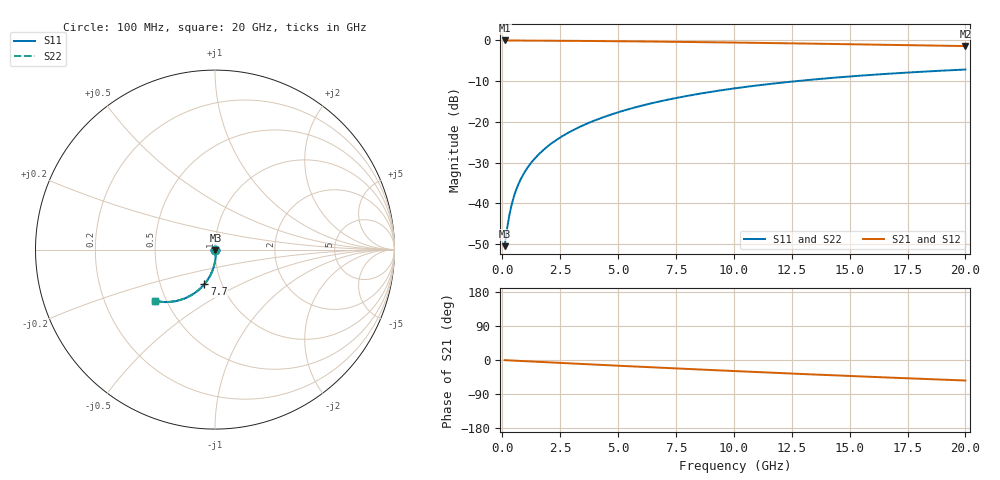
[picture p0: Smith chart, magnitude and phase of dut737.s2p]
! Touchstone file exported from HFSS 2026.1.0
!  File:  C:/ffzhzh/LocalFiles/Ansys_Project_Files/temp_train_TMRDL_737_1783155029_51560.aedt
!  Generated:  04:52:08 PM Jul  4, 2026
!  Design:  TMRDL
!  Project:  temp_train_TMRDL_737_1783155029_51560
! Variables:
!  h_bsmrdl = 2um
!  h_ox = 20um
!  h_rdl = 5um
!  h_sub = 80um
!  h_tmrdl = 5.27um
!  h_tsv = 80um
!  h_via = 3um
!  l_bsmrdl = 300um
!  l_sub = 1234.36um
!  l_tmrdl = 834.36um
!  m_sub = 200um
!  pitch = 27.92um
!  r_tsv = 6um
!  s_tmrdl = 10um
!  w_bsmrdl = 18um
!  w_sub = 500um
!  w_tmrdl = 26.6um
!  x_tsv_center1 = 847.66um
!  x_tsv_center2 = 1165.66um
!  x_tsv_center3 = 2026.62um
!  x_tsv_center4 = 2344.62um
!  x_tsv_center5 = 3205.58um
!  x_tsv_center6 = 3523.58um
# GHz S MA R 50.000000
! Terminal data exported
! Port[1] = TM_RDL1_1_T1
! Port[2] = TM_RDL1_1_T2
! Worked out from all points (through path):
!   200 points, 100 MHz to 20 GHz, reference 50 ohm
!   highest |S21| = -0.02 dB at 100 MHz (marker M1); lowest = -1.4 dB at 20 GHz (marker M2)
!   group delay of S21, straight-line fit = 7.51 ps
!   lowest |S11| = -50.5 dB at 100 MHz (marker M3), VSWR 1.01, Z = 50.3 - j0.152 ohm
!   |S11| at or under -10 dB: start of sweep to 12.7 GHz
!   |S22| runs from -50.5 to -7.2 dB; largest |S21 - S12| = 1e-14
!   S11 on the Smith chart (normalised r, x): 100 MHz: 1.01, -0.00; 7.7 GHz: 0.83, -0.33; 20 GHz: 0.43, -0.31
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0.1  0.002991 -30.3  0.9974 -0.4  0.9974 -0.4  0.002991 -30.3
! Gamma 0 0 0 0
! Port Impedance 50 0 50 0
0.2  0.004781 -46.7  0.9967 -0.7  0.9967 -0.7  0.004781 -46.7
0.3  0.007069 -56.3  0.996 -1.0  0.996 -1.0  0.007069 -56.3
0.4  0.00956 -62.7  0.9954 -1.3  0.9954 -1.3  0.009559 -62.7
0.5  0.01212 -67.4  0.995 -1.6  0.995 -1.6  0.01212 -67.4
0.6  0.01471 -70.9  0.9947 -1.9  0.9947 -1.9  0.01471 -70.9
0.7  0.01731 -73.6  0.9944 -2.2  0.9944 -2.2  0.01731 -73.6
0.8  0.01991 -75.7  0.9941 -2.6  0.9941 -2.6  0.0199 -75.7
1  0.0251 -79.0  0.9936 -3.2  0.9936 -3.2  0.0251 -79.0
1.4  0.03549 -83.2  0.9926 -4.4  0.9926 -4.4  0.03549 -83.3
1.7  0.04332 -85.4  0.9917 -5.3  0.9917 -5.3  0.04331 -85.4
2  0.05118 -87.2  0.9907 -6.2  0.9907 -6.2  0.05117 -87.2
2.7  0.06966 -90.4  0.988 -8.3  0.988 -8.3  0.06965 -90.4
3.5  0.091 -93.4  0.9843 -10.7  0.9843 -10.7  0.09099 -93.4
4.2  0.1097 -95.9  0.9806 -12.8  0.9806 -12.8  0.1097 -95.9
5  0.1311 -98.5  0.9761 -15.1  0.9761 -15.1  0.1311 -98.6
6.8  0.1784 -104.3  0.9647 -20.3  0.9647 -20.3  0.1784 -104.3
7.7  0.2013 -107.0  0.9584 -22.8  0.9584 -22.8  0.2013 -107.1
10.1  0.2593 -114.1  0.9399 -29.4  0.9399 -29.4  0.2592 -114.2
13.4  0.3303 -123.2  0.9113 -38.1  0.9113 -38.1  0.3302 -123.2
16.7  0.3901 -131.5  0.881 -46.4  0.881 -46.4  0.3899 -131.6
20  0.4388 -139.3  0.8513 -54.1  0.8513 -54.1  0.4386 -139.4
